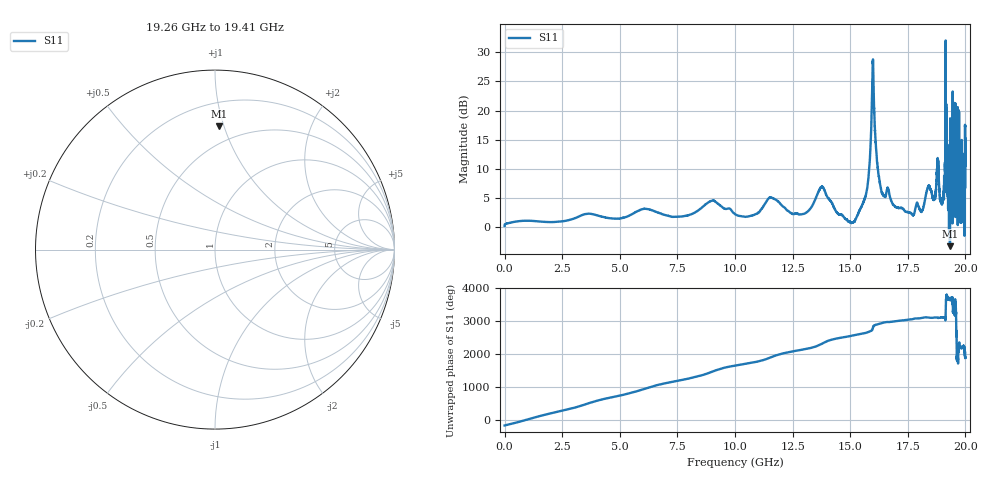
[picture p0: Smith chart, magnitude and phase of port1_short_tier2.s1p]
! Created with skrf 1.8.0 (http://scikit-rf.org).
# GHz S RI R 50.0
!freq ReS11 ImS11
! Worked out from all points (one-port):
!   10001 points, 1 MHz to 20 GHz, reference 50 ohm
!   lowest |S11| = -3.2 dB at 19.33 GHz (marker M1), VSWR 5.42, Z = 18.4 + j48.3 ohm
!   |S11| at or under -10 dB: nowhere
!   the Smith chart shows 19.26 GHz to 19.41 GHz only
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0.001  -1.026 -0.0243
2.500875  -0.0286 -1.123
3.866807  -1.285 -0.1077
5.00075  1.171 0.2046
5.880706  -1.395 0.1546
6.330684  0.0741 -1.411
7.500625  -0.1892 1.215
8.214589  -1.215 -0.5194
8.964552  1.675 0.147
10.0005  -1.21 -0.4559
11.54842  -0.0929 1.801
12.50038  0.0785 -1.295
13.34433  1.331 0.731
13.85631  -2.13 0.1123
14.15629  -0.1655 -1.664
15.00025  1.04 0.3969
15.67822  -0.8527 1.679
15.83221  -3.032 1.282
15.88221  -4.907 0.6002
15.9222  -8.236 -1.083
16.0022  11.62 -18.55
16.0862  6.314 -0.2276
16.13019  4.492 0.6208
16.22819  2.536 1.277
17.50013  -1.238 0.5338
19.04005  -1.43 -1.406
19.33003  0.024 0.688
20  0.5346 2.137
